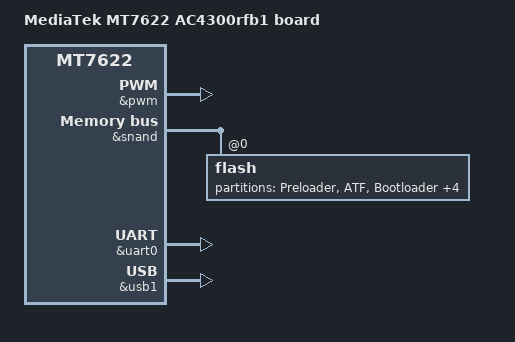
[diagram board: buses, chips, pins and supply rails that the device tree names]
/*
 * Copyright (c) 2017 MediaTek Inc.
 * Author: Ming Huang <ming.huang@mediatek.com>
 *
 * This program is free software; you can redistribute it and/or modify
 * it under the terms of the GNU General Public License version 2 as
 * published by the Free Software Foundation.
 *
 * This program is distributed in the hope that it will be useful,
 * but WITHOUT ANY WARRANTY; without even the implied warranty of
 * MERCHANTABILITY or FITNESS FOR A PARTICULAR PURPOSE.  See the
 * GNU General Public License for more details.
 */

/dts-v1/;
#include "mt7622.dtsi"
#include "mt6380.dtsi"
#include <dt-bindings/input/input.h>

/ {
	model = "MediaTek MT7622 AC4300rfb1 board";
	compatible = "mediatek,mt7622-ac4300rfb1", "mediatek,mt7622";

	chosen {
		bootargs = "console=ttyS0,115200n1 root=/dev/mtdblock7 \
			    initrd=0x44000000,0x615E36 loglevel=8 \
			    androidboot.hardware=mt7622 swiotlb=512 \
			    rootfstype=squashfs";
	};

	mmc_fixed_1v8_io: fixedregulator@0 {
		compatible = "regulator-fixed";
		regulator-name = "mmc_io";
		regulator-min-microvolt = <1800000>;
		regulator-max-microvolt = <1800000>;
		regulator-always-on;
	};

	mmc_fixed_3v3_power: fixedregulator@1 {
		compatible = "regulator-fixed";
		regulator-name = "mmc_power";
		regulator-min-microvolt = <3300000>;
		regulator-max-microvolt = <3300000>;
		regulator-always-on;
	};

	memory {
		reg = <0 0x40000000 0 0x3F000000>;
	};

	gpio-keys {
		compatible = "gpio-keys";
		#address-cells = <1>;
		#size-cells = <0>;

		reset {
			label = "reset";
			gpios = <&pio 0 1>;
			linux,code = <KEY_RESTART>;
		};

		wps {
			label = "wps";
			gpios = <&pio 102 1>;
			linux,code = <KEY_WPS_BUTTON>;
		};
	};

	gsw: gsw@0 {
		compatible = "mediatek,mt753x";
		mediatek,ethsys = <&ethsys>;
		#address-cells = <1>;
		#size-cells = <0>;
	};

};

&auxadc {
	status = "okay";
};

&bch {
	status = "disabled";
};

&cpu0 {
	proc-supply = <&mt6380_vcpu_reg>;
	sram-supply = <&mt6380_vm_reg>;
};

&cpu1 {
	proc-supply = <&mt6380_vcpu_reg>;
	sram-supply = <&mt6380_vm_reg>;
};

&efuse {
	status = "okay";
};

&eth {
	status = "okay";
	gmac0: mac@0 {
		compatible = "mediatek,eth-mac";
		reg = <0>;
		phy-mode = "sgmii";
		fixed-link {
			speed = <1000>;
			full-duplex;
			pause;
		};
	};
	gmac1: mac@1 {
		compatible = "mediatek,eth-mac";
		reg = <1>;
		phy-mode = "rgmii";
		fixed-link {
			speed = <1000>;
			full-duplex;
			pause;
		};
	};
	mdio: mdio-bus {
		#address-cells = <1>;
		#size-cells = <0>;
	};
};

&gsw {
	mediatek,mdio = <&mdio>;
	mediatek,portmap = "llllw";
	mediatek,mdio_master_pinmux = <0>;
	reset-gpios = <&pio 54 0>;
	interrupt-parent = <&pio>;
	interrupts = <53 IRQ_TYPE_LEVEL_HIGH>;
	status = "okay";

	port5: port@5 {
		compatible = "mediatek,mt753x-port";
		reg = <5>;
		phy-mode = "rgmii";
		fixed-link {
			speed = <1000>;
			full-duplex;
		};
	};

	port6: port@6 {
		compatible = "mediatek,mt753x-port";
		reg = <6>;
		phy-mode = "sgmii";
		fixed-link {
			speed = <2500>;
			full-duplex;
		};
	};
};

&hnat {
	mtketh-wan = "eth1";
	mtketh-max-gmac = <2>;
	status = "okay";
};

&i2c0 {
	status = "okay";
};

&i2c1 {
	status = "okay";
};

&i2c2 {
	status = "okay";
};

&mmc0 {
	pinctrl-names = "default", "state_uhs";
	pinctrl-0 = <&mmc0_pins_default>;
	pinctrl-1 = <&mmc0_pins_uhs>;
	status = "okay";
	bus-width = <8>;
	max-frequency = <50000000>;
	cap-mmc-highspeed;
	mmc-hs200-1_8v;
	vmmc-supply = <&mmc_fixed_3v3_power>;
	vqmmc-supply = <&mmc_fixed_1v8_io>;
	assigned-clocks = <&topckgen CLK_TOP_MSDC30_0_SEL>;
	assigned-clock-parents = <&topckgen CLK_TOP_UNIV48M>;
	non-removable;
};

&mmc1 {
	pinctrl-names = "default", "state_uhs";
	pinctrl-0 = <&mmc1_pins_default>;
	pinctrl-1 = <&mmc1_pins_uhs>;
	status = "okay";
	bus-width = <4>;
	max-frequency = <50000000>;
	cap-sd-highspeed;
	r_smpl = <1>;
	cd-gpios = <&pio 81 0>;
	vmmc-supply = <&mmc_fixed_3v3_power>;
	vqmmc-supply = <&mmc_fixed_3v3_power>;
	assigned-clocks = <&topckgen CLK_TOP_MSDC30_1_SEL>;
	assigned-clock-parents = <&topckgen CLK_TOP_UNIV48M>;
};

&nandc {
	pinctrl-names = "default";
	pinctrl-0 = <&nand_pins_default>;
	status = "disabled";
	flash@0 {
		reg = <0>;
		nand-ecc-mode = "hw";
		partitions {
			compatible = "fixed-partitions";
			#address-cells = <1>;
			#size-cells = <1>;

			partition@0 {
				label = "Preloader";
				reg = <0x00000 0x0080000>;
				read-only;
			};

			partition@80000 {
				label = "ATF";
				reg = <0x80000 0x0040000>;
			};

			partition@c0000 {
				label = "Bootloader";
				reg = <0xc0000 0x0080000>;
			};

			partition@140000 {
				label = "Config";
				reg = <0x140000 0x0080000>;
			};

			partition@1c0000 {
				label = "Factory";
				reg = <0x1c0000 0x0040000>;
			};

			partition@200000 {
				label = "Kernel";
				reg = <0x200000 0x2000000>;
			};

			partition@2200000 {
				label = "User_data";
				reg = <0x2200000 0x4000000>;
			};
		};
	};
};

&nor_flash {
	status = "okay";
	flash@0 {
		compatible = "jedec,spi-nor";
		#address-cells = <1>;
		#size-cells = <1>;
		partition@00000 {
			label = "Preloader";
			reg = <0x00000 0x0040000>;
		};
		partition@40000 {
			label = "ATF";
			reg = <0x40000 0x0020000>;
		};
		partition@60000 {
			label = "Bootloader";
			reg = <0x60000 0x0040000>;
		};
		partition@A0000 {
			label = "Config";
			reg = <0xA0000 0x0020000>;
		};
		partition@C0000 {
			label = "Factory";
			reg = <0xC0000 0x0020000>;
		};
		partition@E0000 {
			label = "Kernel";
			reg = <0xE0000 0xF20000>;
		};
	};
};

&pio {
	pinctrl-names = "default";
	pinctrl-0 = <&state_default>;
	state_default:pinconf_default {
	};

	mmc0_pins_default: mmc0default {
		pins_cmd_dat {
			pinmux = <MT7622_PIN_47_NDL0__FUNC_EMMC_DATA0>,
			       <MT7622_PIN_48_NDL1__FUNC_EMMC_DATA1>,
			       <MT7622_PIN_49_NDL2__FUNC_EMMC_DATA2>,
			       <MT7622_PIN_50_NDL3__FUNC_EMMC_DATA3>,
			       <MT7622_PIN_40_NDL4__FUNC_EMMC_DATA4>,
			       <MT7622_PIN_41_NDL5__FUNC_EMMC_DATA5>,
			       <MT7622_PIN_42_NDL6__FUNC_EMMC_DATA6>,
			       <MT7622_PIN_43_NDL7__FUNC_EMMC_DATA7>,
			       <MT7622_PIN_44_NRB__FUNC_EMMC_CMD>;
			input-enable;
			bias-pull-up;
		};

		pins_clk {
			pinmux = <MT7622_PIN_45_NCLE__FUNC_EMMC_CK>;
			bias-pull-down;
		};
	};

	mmc0_pins_uhs: mmc0@0{
		pins_cmd_dat {
			pinmux = <MT7622_PIN_47_NDL0__FUNC_EMMC_DATA0>,
			       <MT7622_PIN_48_NDL1__FUNC_EMMC_DATA1>,
			       <MT7622_PIN_49_NDL2__FUNC_EMMC_DATA2>,
			       <MT7622_PIN_50_NDL3__FUNC_EMMC_DATA3>,
			       <MT7622_PIN_40_NDL4__FUNC_EMMC_DATA4>,
			       <MT7622_PIN_41_NDL5__FUNC_EMMC_DATA5>,
			       <MT7622_PIN_42_NDL6__FUNC_EMMC_DATA6>,
			       <MT7622_PIN_43_NDL7__FUNC_EMMC_DATA7>,
			       <MT7622_PIN_44_NRB__FUNC_EMMC_CMD>;
			input-enable;
			drive-strength = <MTK_DRIVE_4mA>;
			bias-pull-up = <MTK_PUPD_SET_R1R0_01>;
		};

		pins_clk {
			pinmux = <MT7622_PIN_45_NCLE__FUNC_EMMC_CK>;
			drive-strength = <MTK_DRIVE_4mA>;
			bias-pull-down = <MTK_PUPD_SET_R1R0_10>;
		};
	};

	mmc1_pins_default: mmc1default {
		pins_cmd_dat {
			pinmux = <MT7622_PIN_19_I2S2_OUT__FUNC_SD_D0>,
			       <MT7622_PIN_18_I2S4_IN__FUNC_SD_D1>,
			       <MT7622_PIN_17_I2S3_IN__FUNC_SD_D2>,
			       <MT7622_PIN_16_I2S2_IN__FUNC_SD_D3>,
			       <MT7622_PIN_21_I2S4_OUT__FUNC_SD_CMD>;
			input-enable;
			drive-strength = <MTK_DRIVE_8mA>;
			bias-pull-up = <MTK_PUPD_SET_R1R0_01>;
		};

		pins_clk {
			pinmux = <MT7622_PIN_20_I2S3_OUT__FUNC_SD_CLK>;
			drive-strength = <MTK_DRIVE_12mA>;
			bias-pull-down = <MTK_PUPD_SET_R1R0_10>;
		};

		pins_insert {
			pinmux = <MT7622_PIN_81_TXD3__FUNC_GPIO81>;
			bias-pull-up;
		};
	};

	mmc1_pins_uhs: mmc1@0 {
		pins_cmd_dat {
			pinmux = <MT7622_PIN_19_I2S2_OUT__FUNC_SD_D0>,
			       <MT7622_PIN_18_I2S4_IN__FUNC_SD_D1>,
			       <MT7622_PIN_17_I2S3_IN__FUNC_SD_D2>,
			       <MT7622_PIN_16_I2S2_IN__FUNC_SD_D3>,
			       <MT7622_PIN_21_I2S4_OUT__FUNC_SD_CMD>;
			input-enable;
			bias-pull-up = <MTK_PUPD_SET_R1R0_01>;
		};

		pins_clk {
			pinmux = <MT7622_PIN_20_I2S3_OUT__FUNC_SD_CLK>;
			bias-pull-down = <MTK_PUPD_SET_R1R0_10>;
		};
	};

	nand_pins_default: nanddefault {
		pins_dat {
			pinmux = <MT7622_PIN_37_NCEB__FUNC_ND_CS_N>,
				 <MT7622_PIN_38_NWEB__FUNC_ND_WE_N>,
				 <MT7622_PIN_39_NREB__FUNC_ND_RE_N>,
				 <MT7622_PIN_40_NDL4__FUNC_ND_D4>,
				 <MT7622_PIN_41_NDL5__FUNC_ND_D5>,
				 <MT7622_PIN_42_NDL6__FUNC_ND_D6>,
				 <MT7622_PIN_43_NDL7__FUNC_ND_D7>,
				 <MT7622_PIN_44_NRB__FUNC_ND_RB_N>,
				 <MT7622_PIN_45_NCLE__FUNC_ND_CLE>,
				 <MT7622_PIN_46_NALE__FUNC_ND_ALE>,
				 <MT7622_PIN_47_NDL0__FUNC_ND_D0>,
				 <MT7622_PIN_48_NDL1__FUNC_ND_D1>,
				 <MT7622_PIN_49_NDL2__FUNC_ND_D2>,
				 <MT7622_PIN_50_NDL3__FUNC_ND_D3>;
			input-enable;
			drive-strength = <MTK_DRIVE_8mA>;
			bias-pull-up;
		};
	};

	snand_pins_default: snand@0 {
		pins_cmd_dat {
			pinmux = <MT7622_PIN_8_SPI_WP__FUNC_SNFI_WP>,
				 <MT7622_PIN_9_SPI_HOLD__FUNC_SNFI_HOLD>,
				 <MT7622_PIN_11_SPI_MOSI__FUNC_SNFI_MOSI>,
				 <MT7622_PIN_12_SPI_MISO__FUNC_SNFI_MISO>,
				 <MT7622_PIN_13_SPI_CS__FUNC_SNFI_CS>;
			input-enable;
			drive-strength = <MTK_DRIVE_16mA>;
			bias-pull-up = <MTK_PUPD_SET_R1R0_01>;
		};
		pins_clk {
			pinmux = <MT7622_PIN_10_SPI_CLK__FUNC_SNFI_CLK>;
			drive-strength = <MTK_DRIVE_16mA>;
			bias-pull-down = <MTK_PUPD_SET_R1R0_10>;
		};
	};

	wbsys_pins_default: wbsysdefault {
	};

	wbsys_pins_epa: wbsysepa {
		pins_cmd_dat {
			pinmux = <MT7622_PIN_91_TXD4__FUNC_ANTSEL0>,
			       <MT7622_PIN_92_RXD4__FUNC_ANTSEL1>,
			       <MT7622_PIN_93_RTS4_N__FUNC_ANTSEL2>,
			       <MT7622_PIN_94_CTS4_N__FUNC_ANTSEL3>,
			       <MT7622_PIN_95_PWM1__FUNC_ANTSEL4>,
			       <MT7622_PIN_96_PWM2__FUNC_ANTSEL5>,
			       <MT7622_PIN_97_PWM3__FUNC_ANTSEL6>,
			       <MT7622_PIN_98_PWM4__FUNC_ANTSEL7>,
			       <MT7622_PIN_99_PWM5__FUNC_ANTSEL8>,
			       <MT7622_PIN_100_PWM6__FUNC_ANTSEL9>,
			       <MT7622_PIN_73_SPIC1_CLK__FUNC_ANTSEL12>,
			       <MT7622_PIN_74_SPIC1_MOSI__FUNC_ANTSEL13>,
			       <MT7622_PIN_75_SPIC1_MISO__FUNC_ANTSEL14>,
			       <MT7622_PIN_76_SPIC1_CS__FUNC_ANTSEL15>,
			       <MT7622_PIN_77_GPIO_D__FUNC_ANTSEL16>,
			       <MT7622_PIN_22_GPIO_B__FUNC_ANTSEL17>;
		};
	};
};

&pwm {
	status = "okay";
};

&snand {
	pinctrl-0 = <&snand_pins_default>;
	status = "okay";
	flash@0 {
		partitions {
			compatible = "fixed-partitions";
			#address-cells = <1>;
			#size-cells = <1>;

			partition@0 {
				label = "Preloader";
				reg = <0x00000 0x0080000>;
				read-only;
			};

			partition@80000 {
				label = "ATF";
				reg = <0x80000 0x0040000>;
			};

			partition@c0000 {
				label = "Bootloader";
				reg = <0xc0000 0x0080000>;
			};

			partition@140000 {
				label = "Config";
				reg = <0x140000 0x0080000>;
			};

			partition@1c0000 {
				label = "Factory";
				reg = <0x1c0000 0x0040000>;
			};

			partition@200000 {
				label = "Kernel";
				reg = <0x200000 0x2000000>;
			};

			partition@2200000 {
				label = "User_data";
				reg = <0x2200000 0x4000000>;
			};
		};
	};
};

&svs {
	vproc-supply = <&mt6380_vcpu_reg>;
};

&u3phy1 {
	status = "okay";
};

&uart0 {
	status = "okay";
};

&usb1 {
	status = "okay";
};

&wbsys {
	pinctrl-names = "default", "state_epa";
	pinctrl-0 = <&wbsys_pins_default>;
	pinctrl-1 = <&wbsys_pins_epa>;
	status = "okay";
};

